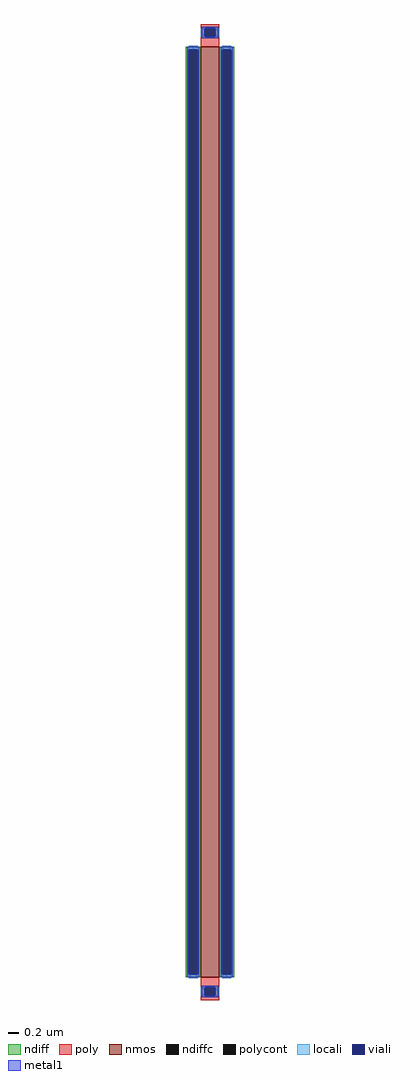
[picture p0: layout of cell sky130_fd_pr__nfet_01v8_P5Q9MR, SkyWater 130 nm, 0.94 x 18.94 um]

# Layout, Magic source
magic
tech sky130A
<< nmos >>
rect -18 -903 18 903
<< ndiff >>
rect -47 897 -18 903
rect -47 -897 -41 897
rect -24 -897 -18 897
rect -47 -903 -18 -897
rect 18 897 47 903
rect 18 -897 24 897
rect 41 -897 47 897
rect 18 -903 47 -897
<< ndiffc >>
rect -41 -897 -24 897
rect 24 -897 41 897
<< poly >>
rect -18 939 18 947
rect -18 922 -10 939
rect 10 922 18 939
rect -18 903 18 922
rect -18 -922 18 -903
rect -18 -939 -10 -922
rect 10 -939 18 -922
rect -18 -947 18 -939
<< polycont >>
rect -10 922 10 939
rect -10 -939 10 -922
<< locali >>
rect -18 922 -10 939
rect 10 922 18 939
rect -41 897 -24 905
rect -41 -905 -24 -897
rect 24 897 41 905
rect 24 -905 41 -897
rect -18 -939 -10 -922
rect 10 -939 18 -922
<< viali >>
rect -10 922 10 939
rect -41 -897 -24 897
rect 24 -897 41 897
rect -10 -939 10 -922
<< metal1 >>
rect -16 939 16 942
rect -16 922 -10 939
rect 10 922 16 939
rect -16 919 16 922
rect -44 897 -21 903
rect -44 -897 -41 897
rect -24 -897 -21 897
rect -44 -903 -21 -897
rect 21 897 44 903
rect 21 -897 24 897
rect 41 -897 44 897
rect 21 -903 44 -897
rect -16 -922 16 -919
rect -16 -939 -10 -922
rect 10 -939 16 -922
rect -16 -942 16 -939
<< properties >>
string gencell sky130_fd_pr__nfet_01v8
string library sky130
string parameters w 18.055 l 0.361 m 1 nf 1 diffcov 100 polycov 100 guard 0 glc 1 grc 1 gtc 1 gbc 1 tbcov 100 rlcov 100 topc 1 botc 1 poverlap 0 doverlap 1 lmin 0.15 wmin 0.42 compatible {sky130_fd_pr__nfet_01v8 sky130_fd_pr__nfet_01v8_lvt  sky130_fd_bs_flash__special_sonosfet_star  sky130_fd_pr__nfet_g5v0d10v5 sky130_fd_pr__nfet_05v0_nvt  sky130_fd_pr__nfet_03v3_nvt} full_metal 0 viasrc 100 viadrn 100 viagate 100 viagb 0 viagr 0 viagl 0 viagt 0
<< end >>
